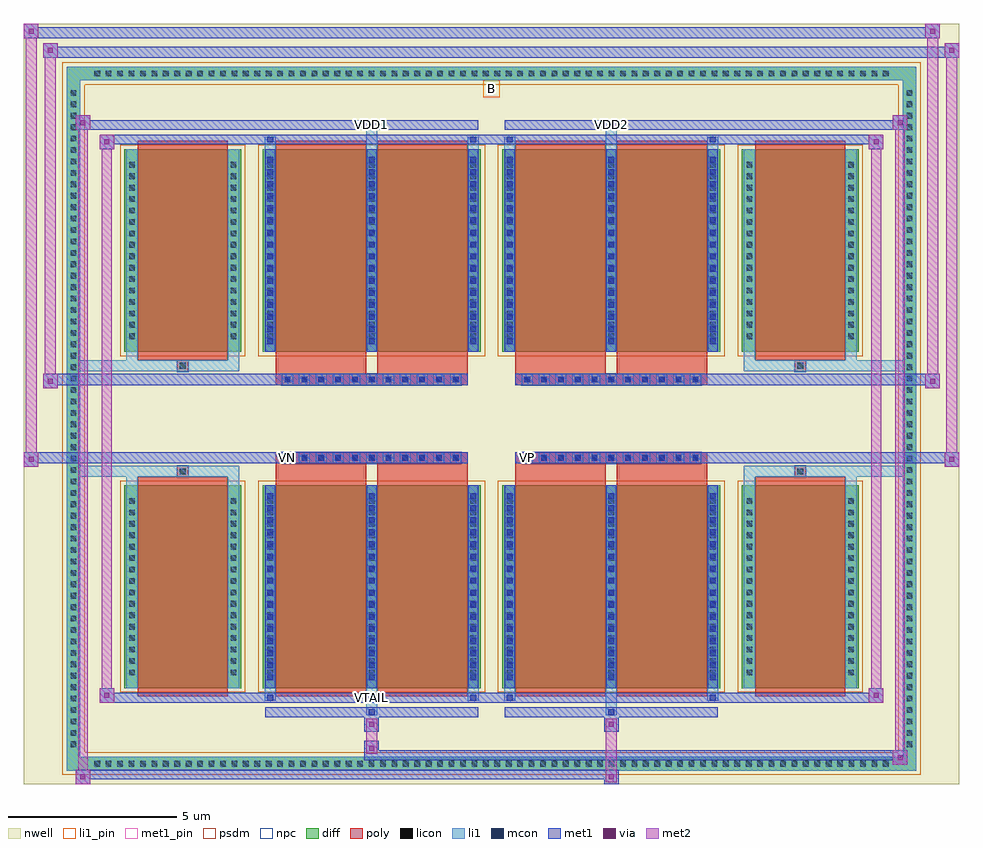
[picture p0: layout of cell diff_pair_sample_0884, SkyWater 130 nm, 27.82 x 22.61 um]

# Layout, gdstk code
import gdstk
lib = gdstk.Library(unit=1e-6, precision=5e-09)
def R(c, l, rs):  # rectangles x0, y0, x1, y1
    for r in rs: c.add(gdstk.rectangle(r[:2], r[2:], *l))
def A(c, l, x, y, w, h, nx, ny, dx, dy):  # array of equal rectangles
    R(c, l, [(x+i*dx, y+j*dy, x+i*dx+w, y+j*dy+h) for i in range(nx) for j in range(ny)])
def P(c, l, *ps):  # polygons
    for p in ps: c.add(gdstk.Polygon(p, *l))
nwell = (64, 20)
diff = (65, 20)
poly = (66, 20)
licon = (66, 44)
li1_pin = (67, 16)
li1 = (67, 20)
mcon = (67, 44)
met1_pin = (68, 16)
met1 = (68, 20)
via = (68, 44)
met2 = (69, 20)
psdm = (94, 20)
npc = (95, 20)

diff_pair_sample_0884 = lib.new_cell('diff_pair_sample_0884')
R(diff_pair_sample_0884, nwell, [(-13.91,-10.87,13.91,11.74), (-11.23,-9.06,-0.01,-0.8), (0.01,-9.06,11.23,-0.8), (-11.23,0.8,-0.01,9.06), (0.01,0.8,11.23,9.06)])
A(diff_pair_sample_0884, diff, -11.935, -10.47, 0.41, 0.41, 70, 2, 0.34, 20.53)
A(diff_pair_sample_0884, diff, -12.64, -9.895, 0.41, 0.41, 1, 58, 0, 0.34)
A(diff_pair_sample_0884, diff, 12.23, -9.895, 0.41, 0.41, 1, 58, 0, 0.34)
R(diff_pair_sample_0884, diff, [(-11.935,-10.47,11.935,-10.06), (-12.64,-9.895,-12.23,9.895), (12.23,-9.895,12.64,9.895), (-10.92,-8.015,-7.45,-1.985), (-6.81,-8.015,-0.32,-1.985), (0.32,-8.015,6.81,-1.985), (7.45,-8.015,10.92,-1.985), (-10.92,1.985,-7.45,8.015), (-6.81,1.985,-0.32,8.015), (0.32,1.985,6.81,8.015), (7.45,1.985,10.92,8.015), (-11.935,10.06,11.935,10.47)])
P(diff_pair_sample_0884, diff, [(12.64,10.47),(-12.64,10.47),(-12.64,-10.06),(-12.23,-10.06),(-12.23,10.06),(12.23,10.06),(12.23,-10.06),(-12.23,-10.06),(-12.64,-10.06),(-12.64,-10.47),(12.64,-10.47)])
A(diff_pair_sample_0884, poly, -6.23, -1.33, 0.33, 0.33, 11, 2, 0.5, 2.33)
A(diff_pair_sample_0884, poly, 0.9, -1.33, 0.33, 0.33, 11, 2, 0.5, 2.33)
R(diff_pair_sample_0884, poly, [(-10.53,-8.265,-7.84,-1.735), (-6.42,-8.265,-3.73,-1.735), (-3.4,-8.265,-0.71,-1.735), (0.71,-8.265,3.4,-1.735), (3.73,-8.265,6.42,-1.735), (7.84,-8.265,10.53,-1.735), (-9.35,-1.735,-9.02,-1.405), (-9.35,-1.735,-9.02,-1.405), (-6.42,-1.735,-3.73,-1.33), (-3.4,-1.735,-0.71,-1.33), (0.71,-1.735,3.4,-1.33), (3.73,-1.735,6.42,-1.33), (9.02,-1.735,9.35,-1.405), (9.02,-1.735,9.35,-1.405), (-6.42,-1.33,-0.71,-1), (0.71,-1.33,6.42,-1), (-6.42,1,-0.71,1.33), (0.71,1,6.42,1.33), (-6.42,1.33,-3.73,1.735), (-3.4,1.33,-0.71,1.735), (0.71,1.33,3.4,1.735), (3.73,1.33,6.42,1.735), (-9.35,1.405,-9.02,1.735), (-9.35,1.405,-9.02,1.735), (9.02,1.405,9.35,1.735), (9.02,1.405,9.35,1.735), (-10.53,1.735,-7.84,8.265), (-6.42,1.735,-3.73,8.265), (-3.4,1.735,-0.71,8.265), (0.71,1.735,3.4,8.265), (3.73,1.735,6.42,8.265), (7.84,1.735,10.53,8.265)])
A(diff_pair_sample_0884, licon, -11.815, -10.35, 0.17, 0.17, 70, 2, 0.34, 20.53)
A(diff_pair_sample_0884, licon, -12.52, -9.775, 0.17, 0.17, 1, 58, 0, 0.34)
A(diff_pair_sample_0884, licon, 12.35, -9.775, 0.17, 0.17, 1, 58, 0, 0.34)
A(diff_pair_sample_0884, licon, -10.78, -7.635, 0.17, 0.17, 1, 16, 0, 0.34)
A(diff_pair_sample_0884, licon, -7.76, -7.635, 0.17, 0.17, 1, 16, 0, 0.34)
A(diff_pair_sample_0884, licon, -6.67, -7.635, 0.17, 0.17, 3, 16, 3.02, 0.34)
A(diff_pair_sample_0884, licon, 0.46, -7.635, 0.17, 0.17, 3, 16, 3.02, 0.34)
A(diff_pair_sample_0884, licon, 7.59, -7.635, 0.17, 0.17, 1, 16, 0, 0.34)
A(diff_pair_sample_0884, licon, 10.61, -7.635, 0.17, 0.17, 1, 16, 0, 0.34)
A(diff_pair_sample_0884, licon, -6.15, -1.25, 0.17, 0.17, 11, 2, 0.5, 2.33)
A(diff_pair_sample_0884, licon, 0.98, -1.25, 0.17, 0.17, 11, 2, 0.5, 2.33)
A(diff_pair_sample_0884, licon, -10.78, 2.365, 0.17, 0.17, 1, 16, 0, 0.34)
A(diff_pair_sample_0884, licon, -7.76, 2.365, 0.17, 0.17, 1, 16, 0, 0.34)
A(diff_pair_sample_0884, licon, -6.67, 2.365, 0.17, 0.17, 3, 16, 3.02, 0.34)
A(diff_pair_sample_0884, licon, 0.46, 2.365, 0.17, 0.17, 3, 16, 3.02, 0.34)
A(diff_pair_sample_0884, licon, 7.59, 2.365, 0.17, 0.17, 1, 16, 0, 0.34)
A(diff_pair_sample_0884, licon, 10.61, 2.365, 0.17, 0.17, 1, 16, 0, 0.34)
R(diff_pair_sample_0884, licon, [(-9.27,-1.655,-9.1,-1.485), (9.1,-1.655,9.27,-1.485), (-9.27,1.485,-9.1,1.655), (9.1,1.485,9.27,1.655)])
R(diff_pair_sample_0884, li1_pin, [(-0.25,9.56,0.25,10.06)])
A(diff_pair_sample_0884, li1, -11.895, -10.43, 0.33, 0.33, 70, 2, 0.34, 20.53)
A(diff_pair_sample_0884, li1, -12.6, -9.855, 0.33, 0.33, 1, 58, 0, 0.34)
A(diff_pair_sample_0884, li1, 12.27, -9.855, 0.33, 0.33, 1, 58, 0, 0.34)
A(diff_pair_sample_0884, li1, -6.75, -8.015, 0.33, 6.03, 3, 2, 3.02, 10)
A(diff_pair_sample_0884, li1, 0.38, -8.015, 0.33, 6.03, 3, 2, 3.02, 10)
A(diff_pair_sample_0884, li1, -6.67, -7.785, 0.17, 0.17, 3, 16, 3.02, 0.36)
A(diff_pair_sample_0884, li1, -6.67, -7.785, 0.17, 5.57, 3, 2, 3.02, 10)
A(diff_pair_sample_0884, li1, 0.46, -7.785, 0.17, 0.17, 3, 16, 3.02, 0.36)
A(diff_pair_sample_0884, li1, 0.46, -7.785, 0.17, 5.57, 3, 2, 3.02, 10)
A(diff_pair_sample_0884, li1, -10.86, -7.715, 0.33, 0.33, 1, 16, 0, 0.34)
A(diff_pair_sample_0884, li1, -7.84, -7.715, 0.33, 0.33, 1, 16, 0, 0.34)
A(diff_pair_sample_0884, li1, -6.75, -7.715, 0.33, 0.33, 3, 16, 3.02, 0.34)
A(diff_pair_sample_0884, li1, 0.38, -7.715, 0.33, 0.33, 3, 16, 3.02, 0.34)
A(diff_pair_sample_0884, li1, 7.51, -7.715, 0.33, 0.33, 1, 16, 0, 0.34)
A(diff_pair_sample_0884, li1, 10.53, -7.715, 0.33, 0.33, 1, 16, 0, 0.34)
A(diff_pair_sample_0884, li1, -6.23, -1.33, 0.33, 0.33, 11, 2, 0.5, 2.33)
A(diff_pair_sample_0884, li1, 0.9, -1.33, 0.33, 0.33, 11, 2, 0.5, 2.33)
A(diff_pair_sample_0884, li1, -6.67, 2.215, 0.17, 0.17, 3, 16, 3.02, 0.36)
A(diff_pair_sample_0884, li1, 0.46, 2.215, 0.17, 0.17, 3, 16, 3.02, 0.36)
A(diff_pair_sample_0884, li1, -10.86, 2.285, 0.33, 0.33, 1, 16, 0, 0.34)
A(diff_pair_sample_0884, li1, -7.84, 2.285, 0.33, 0.33, 1, 16, 0, 0.34)
A(diff_pair_sample_0884, li1, -6.75, 2.285, 0.33, 0.33, 3, 16, 3.02, 0.34)
A(diff_pair_sample_0884, li1, 0.38, 2.285, 0.33, 0.33, 3, 16, 3.02, 0.34)
A(diff_pair_sample_0884, li1, 7.51, 2.285, 0.33, 0.33, 1, 16, 0, 0.34)
A(diff_pair_sample_0884, li1, 10.53, 2.285, 0.33, 0.33, 1, 16, 0, 0.34)
R(diff_pair_sample_0884, li1, [(-12.64,-10.47,-12.23,-10.06), (-12.64,-10.47,-12.23,-10.06), (-12.23,-10.47,12.23,-10.06), (12.23,-10.47,12.64,-10.06), (12.23,-10.47,12.64,-10.06), (-12.64,-10.06,-12.23,10.06), (12.23,-10.06,12.64,10.06), (-3.73,-8.82,-3.4,-8.015), (-3.65,-8.82,-3.48,-8.65), (3.4,-8.82,3.73,-8.015), (3.48,-8.82,3.65,-8.65), (-6.75,-8.39,-6.42,-8.015), (-6.67,-8.39,-6.5,-8.22), (-0.71,-8.39,-0.38,-8.015), (-0.63,-8.39,-0.46,-8.22), (0.38,-8.39,0.71,-8.015), (0.46,-8.39,0.63,-8.22), (6.42,-8.39,6.75,-8.015), (6.5,-8.39,6.67,-8.22), (-10.86,-8.015,-10.53,-1.985), (-7.84,-8.015,-7.51,-1.985), (7.51,-8.015,7.84,-1.985), (10.53,-8.015,10.86,-1.985), (-10.86,-1.985,-10.53,-1.405), (-7.84,-1.985,-7.51,-1.405), (7.51,-1.985,7.84,-1.405), (10.53,-1.985,10.86,-1.405), (-12.64,-1.735,-9.35,-1.405), (-10.86,-1.735,-9.35,-1.405), (-9.35,-1.735,-9.02,-1.405), (-9.02,-1.735,-7.51,-1.405), (7.51,-1.735,9.02,-1.405), (9.02,-1.735,9.35,-1.405), (9.02,-1.735,12.64,-1.405), (9.35,-1.735,10.86,-1.405), (-12.64,1.405,-9.35,1.735), (-10.86,1.405,-9.35,1.735), (-10.86,1.405,-10.53,1.985), (-9.35,1.405,-9.02,1.735), (-9.02,1.405,-7.51,1.735), (-7.84,1.405,-7.51,1.985), (7.51,1.405,9.02,1.735), (7.51,1.405,7.84,1.985), (9.02,1.405,9.35,1.735), (9.02,1.405,12.64,1.735), (9.35,1.405,10.86,1.735), (10.53,1.405,10.86,1.985), (-10.86,1.985,-10.53,8.015), (-7.84,1.985,-7.51,8.015), (7.51,1.985,7.84,8.015), (10.53,1.985,10.86,8.015), (-6.75,8.015,-6.42,8.39), (-3.73,8.015,-3.4,8.82), (-0.71,8.015,-0.38,8.39), (0.38,8.015,0.71,8.39), (3.4,8.015,3.73,8.82), (6.42,8.015,6.75,8.39), (-6.67,8.22,-6.5,8.39), (-0.63,8.22,-0.46,8.39), (0.46,8.22,0.63,8.39), (6.5,8.22,6.67,8.39), (-3.65,8.65,-3.48,8.82), (3.48,8.65,3.65,8.82), (-12.64,10.06,-12.23,10.47), (-12.64,10.06,-12.23,10.47), (-12.23,10.06,12.23,10.47), (12.23,10.06,12.64,10.47), (12.23,10.06,12.64,10.47)])
A(diff_pair_sample_0884, mcon, -6.67, -7.785, 0.17, 0.17, 3, 16, 3.02, 0.36)
A(diff_pair_sample_0884, mcon, 0.46, -7.785, 0.17, 0.17, 3, 16, 3.02, 0.36)
A(diff_pair_sample_0884, mcon, -6.15, -1.25, 0.17, 0.17, 11, 2, 0.5, 2.33)
A(diff_pair_sample_0884, mcon, 0.98, -1.25, 0.17, 0.17, 11, 2, 0.5, 2.33)
A(diff_pair_sample_0884, mcon, -6.67, 2.215, 0.17, 0.17, 3, 16, 3.02, 0.36)
A(diff_pair_sample_0884, mcon, 0.46, 2.215, 0.17, 0.17, 3, 16, 3.02, 0.36)
R(diff_pair_sample_0884, mcon, [(-3.65,-8.82,-3.48,-8.65), (3.48,-8.82,3.65,-8.65), (-6.67,-8.39,-6.5,-8.22), (-0.63,-8.39,-0.46,-8.22), (0.46,-8.39,0.63,-8.22), (6.5,-8.39,6.67,-8.22), (-6.67,8.22,-6.5,8.39), (-0.63,8.22,-0.46,8.39), (0.46,8.22,0.63,8.39), (6.5,8.22,6.67,8.39), (-3.65,8.65,-3.48,8.82), (3.48,8.65,3.65,8.82)])
R(diff_pair_sample_0884, met1_pin, [(-3.7,-8.43,-3.43,-8.16), (-6.2,-1.29,-5.93,-1.02), (0.93,-1.29,1.2,-1.02), (-3.7,8.61,-3.43,8.88), (3.43,8.61,3.7,8.88)])
A(diff_pair_sample_0884, met1, -6.73, -8.015, 0.29, 6.03, 3, 2, 3.02, 10)
A(diff_pair_sample_0884, met1, 0.4, -8.015, 0.29, 6.03, 3, 2, 3.02, 10)
A(diff_pair_sample_0884, met1, -6.73, -7.845, 0.29, 0.29, 3, 16, 3.02, 0.36)
A(diff_pair_sample_0884, met1, 0.4, -7.845, 0.29, 0.29, 3, 16, 3.02, 0.36)
A(diff_pair_sample_0884, met1, -6.21, -1.31, 0.29, 0.29, 11, 2, 0.5, 2.33)
A(diff_pair_sample_0884, met1, 0.92, -1.31, 0.29, 0.29, 11, 2, 0.5, 2.33)
A(diff_pair_sample_0884, met1, -6.73, 2.155, 0.29, 0.29, 3, 16, 3.02, 0.36)
A(diff_pair_sample_0884, met1, 0.4, 2.155, 0.29, 0.29, 3, 16, 3.02, 0.36)
R(diff_pair_sample_0884, met1, [(-12.37,-10.87,-11.94,-10.44), (3.35,-10.87,3.78,-10.44), (-12.37,-10.73,3.78,-10.44), (11.94,-10.3,12.37,-9.87), (-3.78,-10.16,12.37,-9.87), (-3.78,-10.02,-3.35,-9.59), (-3.78,-9.31,-3.35,-8.88), (3.35,-9.31,3.78,-8.88), (-6.73,-8.88,-0.4,-8.59), (-3.71,-8.88,-3.42,-8.59), (0.4,-8.88,6.73,-8.59), (3.42,-8.88,3.71,-8.59), (-11.66,-8.45,-11.23,-8.02), (-11.66,-8.45,-6.73,-8.16), (-6.73,-8.45,-6.44,-8.16), (-6.73,-8.45,-0.4,-8.16), (-0.69,-8.45,-0.4,-8.16), (-0.4,-8.45,0.4,-8.16), (0.4,-8.45,0.69,-8.16), (0.4,-8.45,6.73,-8.16), (6.44,-8.45,6.73,-8.16), (6.73,-8.45,11.66,-8.16), (11.23,-8.45,11.66,-8.02), (-13.91,-1.43,-13.48,-1), (13.48,-1.43,13.91,-1), (-13.91,-1.33,-0.71,-1), (-6.42,-1.33,-0.71,-1), (0.71,-1.33,6.42,-1), (0.71,-1.33,13.91,-1), (-13.34,0.9,-12.91,1.33), (12.91,0.9,13.34,1.33), (-13.34,1,-6.42,1.33), (-6.42,1,-0.71,1.33), (0.71,1,6.42,1.33), (6.42,1,13.34,1.33), (-11.66,8.02,-11.23,8.45), (11.23,8.02,11.66,8.45), (-11.66,8.16,-6.73,8.45), (-6.73,8.16,-6.44,8.45), (-6.73,8.16,-0.4,8.45), (-0.69,8.16,-0.4,8.45), (-0.4,8.16,0.4,8.45), (0.4,8.16,0.69,8.45), (0.4,8.16,6.73,8.45), (6.44,8.16,6.73,8.45), (6.73,8.16,11.66,8.45), (-12.37,8.59,-11.94,9.02), (-12.37,8.59,-6.73,8.88), (-6.73,8.59,-0.4,8.88), (-3.71,8.59,-3.42,8.88), (0.4,8.59,6.73,8.88), (3.42,8.59,3.71,8.88), (6.73,8.59,12.37,8.88), (11.94,8.59,12.37,9.02), (-13.34,10.74,-12.91,11.17), (-13.34,10.74,-11.23,11.07), (-11.23,10.74,11.23,11.07), (11.23,10.74,13.91,11.07), (13.48,10.74,13.91,11.17), (-13.91,11.31,-13.48,11.74), (-13.91,11.31,-11.23,11.64), (-11.23,11.31,11.23,11.64), (11.23,11.31,13.34,11.64), (12.91,11.31,13.34,11.74)])
R(diff_pair_sample_0884, via, [(-12.23,-10.73,-12.08,-10.58), (3.49,-10.73,3.64,-10.58), (12.08,-10.16,12.23,-10.01), (-3.64,-9.88,-3.49,-9.73), (-3.64,-9.17,-3.49,-9.02), (3.49,-9.17,3.64,-9.02), (-11.52,-8.31,-11.37,-8.16), (11.37,-8.31,11.52,-8.16), (-13.77,-1.29,-13.62,-1.14), (13.62,-1.29,13.77,-1.14), (-13.2,1.04,-13.05,1.19), (13.05,1.04,13.2,1.19), (-11.52,8.16,-11.37,8.31), (11.37,8.16,11.52,8.31), (-12.23,8.73,-12.08,8.88), (12.08,8.73,12.23,8.88), (-13.2,10.88,-13.05,11.03), (13.62,10.88,13.77,11.03), (-13.77,11.45,-13.62,11.6), (13.05,11.45,13.2,11.6)])
R(diff_pair_sample_0884, met2, [(-12.37,-10.87,-11.94,-10.44), (-12.3,-10.87,-12.01,9.02), (-12.01,-10.87,-11.94,-10.44), (-12.32,-10.82,-11.99,-10.49), (3.4,-10.82,3.73,-10.49), (3.4,-10.49,3.73,-9.26), (11.94,-10.3,12.37,-9.87), (12.01,-10.3,12.3,9.02), (12.3,-10.3,12.37,-9.87), (11.99,-10.25,12.32,-9.92), (-3.73,-9.97,-3.4,-9.64), (-3.73,-9.64,-3.4,-9.26), (-3.73,-9.26,-3.4,-8.93), (3.4,-9.26,3.73,-8.93), (-11.66,-8.45,-11.23,-8.02), (-11.59,-8.45,-11.3,8.45), (-11.3,-8.45,-11.23,-8.02), (11.23,-8.45,11.66,-8.02), (11.3,-8.45,11.59,8.45), (11.59,-8.45,11.66,-8.02), (-11.61,-8.4,-11.28,-8.07), (11.28,-8.4,11.61,-8.07), (-13.91,-1.43,-13.48,-1), (-13.86,-1.43,-13.53,11.74), (-13.53,-1.43,-13.48,-1), (13.48,-1.43,13.91,-1), (13.53,-1.43,13.86,11.17), (13.86,-1.43,13.91,-1), (-13.86,-1.38,-13.53,-1.05), (13.53,-1.38,13.86,-1.05), (-13.34,0.9,-12.91,1.33), (-13.29,0.9,-12.96,11.17), (-12.96,0.9,-12.91,1.33), (12.91,0.9,13.34,1.33), (12.96,0.9,13.29,11.74), (13.29,0.9,13.34,1.33), (-13.29,0.95,-12.96,1.28), (12.96,0.95,13.29,1.28), (-11.66,8.02,-11.23,8.45), (-11.3,8.02,-11.23,8.45), (11.23,8.02,11.66,8.45), (11.59,8.02,11.66,8.45), (-11.61,8.07,-11.28,8.4), (11.28,8.07,11.61,8.4), (-12.37,8.59,-11.94,9.02), (-12.01,8.59,-11.94,9.02), (11.94,8.59,12.37,9.02), (12.3,8.59,12.37,9.02), (-12.32,8.64,-11.99,8.97), (11.99,8.64,12.32,8.97), (-13.34,10.74,-12.91,11.17), (-12.96,10.74,-12.91,11.17), (13.48,10.74,13.91,11.17), (13.86,10.74,13.91,11.17), (-13.29,10.79,-12.96,11.12), (13.53,10.79,13.86,11.12), (-13.91,11.31,-13.48,11.74), (-13.53,11.31,-13.48,11.74), (12.91,11.31,13.34,11.74), (13.29,11.31,13.34,11.74), (-13.86,11.36,-13.53,11.69), (12.96,11.36,13.29,11.69)])
R(diff_pair_sample_0884, psdm, [(-11.05,-8.145,-7.32,-1.855), (-6.94,-8.145,-0.19,-1.855), (0.19,-8.145,6.94,-1.855), (7.32,-8.145,11.05,-1.855), (-11.05,1.855,-7.32,8.145), (-6.94,1.855,-0.19,8.145), (0.19,1.855,6.94,8.145), (7.32,1.855,11.05,8.145)])
P(diff_pair_sample_0884, psdm, [(12.77,10.6),(-12.77,10.6),(-12.77,-9.93),(-12.1,-9.93),(-12.1,9.93),(12.1,9.93),(12.1,-9.93),(-12.1,-9.93),(-12.77,-9.93),(-12.77,-10.6),(12.77,-10.6)])
A(diff_pair_sample_0884, npc, -6.25, -1.35, 0.37, 0.37, 11, 2, 0.5, 2.33)
A(diff_pair_sample_0884, npc, 0.88, -1.35, 0.37, 0.37, 11, 2, 0.5, 2.33)
R(diff_pair_sample_0884, npc, [(-9.37,-1.755,-9,-1.385), (9,-1.755,9.37,-1.385), (-6.25,-1.35,-5.38,-0.98), (-6.25,-1.35,-5.38,-0.98), (-5.75,-1.35,-4.88,-0.98), (-5.75,-1.35,-4.88,-0.98), (-5.25,-1.35,-4.38,-0.98), (-5.25,-1.35,-4.38,-0.98), (-4.75,-1.35,-3.88,-0.98), (-4.75,-1.35,-3.88,-0.98), (-4.25,-1.35,-3.38,-0.98), (-4.25,-1.35,-3.38,-0.98), (-3.75,-1.35,-2.88,-0.98), (-3.75,-1.35,-2.88,-0.98), (-3.25,-1.35,-2.38,-0.98), (-3.25,-1.35,-2.38,-0.98), (-2.75,-1.35,-1.88,-0.98), (-2.75,-1.35,-1.88,-0.98), (-2.25,-1.35,-1.38,-0.98), (-2.25,-1.35,-1.38,-0.98), (-1.75,-1.35,-0.88,-0.98), (-1.75,-1.35,-0.88,-0.98), (0.88,-1.35,1.75,-0.98), (0.88,-1.35,1.75,-0.98), (1.38,-1.35,2.25,-0.98), (1.38,-1.35,2.25,-0.98), (1.88,-1.35,2.75,-0.98), (1.88,-1.35,2.75,-0.98), (2.38,-1.35,3.25,-0.98), (2.38,-1.35,3.25,-0.98), (2.88,-1.35,3.75,-0.98), (2.88,-1.35,3.75,-0.98), (3.38,-1.35,4.25,-0.98), (3.38,-1.35,4.25,-0.98), (3.88,-1.35,4.75,-0.98), (3.88,-1.35,4.75,-0.98), (4.38,-1.35,5.25,-0.98), (4.38,-1.35,5.25,-0.98), (4.88,-1.35,5.75,-0.98), (4.88,-1.35,5.75,-0.98), (5.38,-1.35,6.25,-0.98), (5.38,-1.35,6.25,-0.98), (-6.25,0.98,-5.38,1.35), (-6.25,0.98,-5.38,1.35), (-5.75,0.98,-4.88,1.35), (-5.75,0.98,-4.88,1.35), (-5.25,0.98,-4.38,1.35), (-5.25,0.98,-4.38,1.35), (-4.75,0.98,-3.88,1.35), (-4.75,0.98,-3.88,1.35), (-4.25,0.98,-3.38,1.35), (-4.25,0.98,-3.38,1.35), (-3.75,0.98,-2.88,1.35), (-3.75,0.98,-2.88,1.35), (-3.25,0.98,-2.38,1.35), (-3.25,0.98,-2.38,1.35), (-2.75,0.98,-1.88,1.35), (-2.75,0.98,-1.88,1.35), (-2.25,0.98,-1.38,1.35), (-2.25,0.98,-1.38,1.35), (-1.75,0.98,-0.88,1.35), (-1.75,0.98,-0.88,1.35), (0.88,0.98,1.75,1.35), (0.88,0.98,1.75,1.35), (1.38,0.98,2.25,1.35), (1.38,0.98,2.25,1.35), (1.88,0.98,2.75,1.35), (1.88,0.98,2.75,1.35), (2.38,0.98,3.25,1.35), (2.38,0.98,3.25,1.35), (2.88,0.98,3.75,1.35), (2.88,0.98,3.75,1.35), (3.38,0.98,4.25,1.35), (3.38,0.98,4.25,1.35), (3.88,0.98,4.75,1.35), (3.88,0.98,4.75,1.35), (4.38,0.98,5.25,1.35), (4.38,0.98,5.25,1.35), (4.88,0.98,5.75,1.35), (4.88,0.98,5.75,1.35), (5.38,0.98,6.25,1.35), (5.38,0.98,6.25,1.35), (-9.37,1.385,-9,1.755), (9,1.385,9.37,1.755)])
diff_pair_sample_0884.add(gdstk.Label('VTAIL', (-3.565,-8.295), layer=68, texttype=5))
diff_pair_sample_0884.add(gdstk.Label('VN', (-6.065,-1.155), layer=68, texttype=5))
diff_pair_sample_0884.add(gdstk.Label('VP', (1.065,-1.155), layer=68, texttype=5))
diff_pair_sample_0884.add(gdstk.Label('B', (0,9.81), layer=67, texttype=5))
diff_pair_sample_0884.add(gdstk.Label('VDD2', (3.565,8.745), layer=68, texttype=5))
diff_pair_sample_0884.add(gdstk.Label('VDD1', (-3.565,8.745), layer=68, texttype=5))

lib.write_gds('diff_pair_sample_0884.gds')
